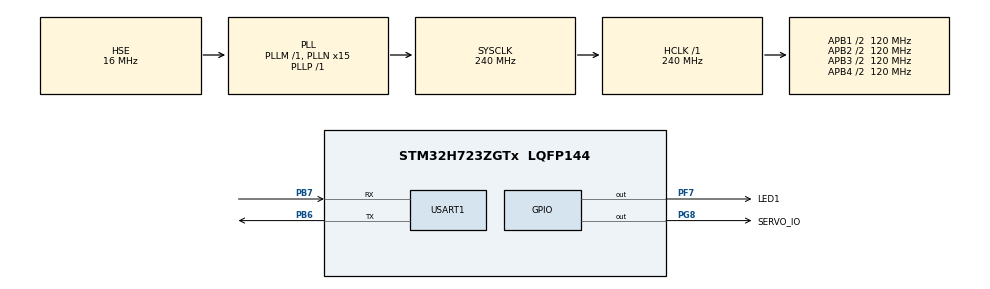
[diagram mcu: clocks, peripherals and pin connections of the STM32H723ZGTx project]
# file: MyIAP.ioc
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CORTEX_M7.default_mode_Activation=1
Dma.Request0=USART1_RX
Dma.Request1=USART1_TX
Dma.USART1_RX.0.Direction=DMA_PERIPH_TO_MEMORY
Dma.USART1_RX.0.EventEnable=DISABLE
Dma.USART1_RX.0.FIFOMode=DMA_FIFOMODE_DISABLE
Dma.USART1_RX.0.Instance=DMA1_Stream0
Dma.USART1_RX.0.MemDataAlignment=DMA_MDATAALIGN_BYTE
Dma.USART1_RX.0.MemInc=DMA_MINC_ENABLE
Dma.USART1_RX.0.Mode=DMA_NORMAL
Dma.USART1_RX.0.PeriphDataAlignment=DMA_PDATAALIGN_BYTE
Dma.USART1_RX.0.PeriphInc=DMA_PINC_DISABLE
Dma.USART1_RX.0.Polarity=HAL_DMAMUX_REQ_GEN_RISING
Dma.USART1_RX.0.Priority=DMA_PRIORITY_MEDIUM
Dma.USART1_RX.0.RequestNumber=1
Dma.USART1_RX.0.SignalID=NONE
Dma.USART1_RX.0.SyncEnable=DISABLE
Dma.USART1_RX.0.SyncPolarity=HAL_DMAMUX_SYNC_NO_EVENT
Dma.USART1_RX.0.SyncRequestNumber=1
Dma.USART1_RX.0.SyncSignalID=NONE
Dma.USART1_TX.1.Direction=DMA_MEMORY_TO_PERIPH
Dma.USART1_TX.1.EventEnable=DISABLE
Dma.USART1_TX.1.FIFOMode=DMA_FIFOMODE_DISABLE
Dma.USART1_TX.1.Instance=DMA1_Stream1
Dma.USART1_TX.1.MemDataAlignment=DMA_MDATAALIGN_BYTE
Dma.USART1_TX.1.MemInc=DMA_MINC_ENABLE
Dma.USART1_TX.1.Mode=DMA_NORMAL
Dma.USART1_TX.1.PeriphDataAlignment=DMA_PDATAALIGN_BYTE
Dma.USART1_TX.1.PeriphInc=DMA_PINC_DISABLE
Dma.USART1_TX.1.Polarity=HAL_DMAMUX_REQ_GEN_RISING
Dma.USART1_TX.1.Priority=DMA_PRIORITY_LOW
Dma.USART1_TX.1.RequestNumber=1
Dma.USART1_TX.1.SignalID=NONE
Dma.USART1_TX.1.SyncEnable=DISABLE
Dma.USART1_TX.1.SyncPolarity=HAL_DMAMUX_SYNC_NO_EVENT
Dma.USART1_TX.1.SyncRequestNumber=1
Dma.USART1_TX.1.SyncSignalID=NONE
IWDG1.Prescaler=IWDG_PRESCALER_32
Mcu.Family=STM32H7
Mcu.Name=STM32H723ZGTx
Mcu.Package=LQFP144
NVIC.DMA1_Stream0_IRQn=true\:0\:0\:false\:false\:true\:false\:true\:true
NVIC.DMA1_Stream1_IRQn=true\:0\:0\:false\:false\:true\:false\:true\:true
NVIC.PriorityGroup=NVIC_PRIORITYGROUP_4
NVIC.USART1_IRQn=true\:0\:0\:false\:false\:true\:true\:true\:true
PB6.Mode=Asynchronous
PB6.Signal=USART1_TX
PB7.Mode=Asynchronous
PB7.Signal=USART1_RX
PF7.GPIO_Label=LED1
PF7.Signal=GPIO_Output
PG8.GPIO_Label=SERVO_IO
PG8.PinState=GPIO_PIN_RESET
PG8.Signal=GPIO_Output
PH0-OSC_IN.Mode=HSE-External-Oscillator
PH0-OSC_IN.Signal=RCC_OSC_IN
PH1-OSC_OUT.Mode=HSE-External-Oscillator
PH1-OSC_OUT.Signal=RCC_OSC_OUT
ProjectManager.HeapSize=0x1000
ProjectManager.StackSize=0x400
ProjectManager.TargetToolchain=STM32CubeIDE
RCC.ADCFreq_Value=96000000
RCC.APB1Freq_Value=120000000
RCC.APB2Freq_Value=120000000
RCC.APB3Freq_Value=120000000
RCC.APB4Freq_Value=120000000
RCC.CortexFreq_Value=240000000
RCC.D1PPRE=RCC_APB3_DIV2
RCC.D2PPRE1=RCC_APB1_DIV2
RCC.D2PPRE2=RCC_APB2_DIV2
RCC.D3PPRE=RCC_APB4_DIV2
RCC.DIVM1=1
RCC.DIVM2=1
RCC.DIVM3=1
RCC.DIVN1=15
RCC.DIVN2=12
RCC.DIVN3=12
RCC.DIVP1=1
RCC.HCLKFreq_Value=240000000
RCC.HSE_VALUE=16000000
RCC.PLLSourceVirtual=RCC_PLLSOURCE_HSE
RCC.SYSCLKFreq_VALUE=240000000
RCC.SYSCLKSource=RCC_SYSCLKSOURCE_PLLCLK
RCC.USBFreq_Value=120000000
USART1.VirtualMode-Asynchronous=VM_ASYNC
VP_IWDG1_VS_IWDG.Mode=IWDG_Activate
VP_MEMORYMAP_VS_MEMORYMAP.Mode=CurAppReg
VP_RTC_VS_RTC_Activate.Mode=RTC_Enabled
board=custom

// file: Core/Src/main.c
/* USER CODE BEGIN Header */
/**
  ******************************************************************************
  * @file           : main.c
  * @brief          : Main program body
  ******************************************************************************
  * @attention
  *
  * Copyright (c) 2026 STMicroelectronics.
  * All rights reserved.
  *
  * This software is licensed under terms that can be found in the LICENSE file
  * in the root directory of this software component.
  * If no LICENSE file comes with this software, it is provided AS-IS.
  *
  ******************************************************************************
  */
/* USER CODE END Header */
#include "main.h"
#include "dma.h"
#include "iwdg.h"
#include "rtc.h"
#include "usart.h"
#include "gpio.h"

/* USER CODE BEGIN Includes */
#include <string.h>
#include <stdio.h>
#include "menu.h"
/* USER CODE END Includes */

/* USER CODE BEGIN PV */

uint8_t boot_in_menu_flag = 0;

extern pFunction Jump_To_Application;
extern uint32_t JumpAddress;

/* USER CODE END PV */

void SystemClock_Config(void);
static void MPU_Config(void);
/* USER CODE BEGIN PFP */
void Jump_To_App(void);
/* USER CODE END PFP */

int main(void)
{

  /* MPU Configuration--------------------------------------------------------*/
  MPU_Config();

  /* MCU Configuration--------------------------------------------------------*/

  /* Reset of all peripherals, Initializes the Flash interface and the Systick. */
  HAL_Init();

  /* Configure the system clock */
  SystemClock_Config();

  /* Initialize all configured peripherals */
  MX_GPIO_Init();
  MX_DMA_Init();
  MX_USART1_UART_Init();
  MX_RTC_Init();
  MX_IWDG1_Init();
  /* USER CODE BEGIN 2 */
  __HAL_DBGMCU_FREEZE_IWDG1(); // 调试时冻结看门狗

	uint8_t enter_iap = 0;
	uint32_t life_count = 0;

	// 1. 软件触发判定：检查 RTC 备份寄存器（由 APP 重启触发）
	// 注意：需要确保前面已经调用了 MX_RTC_Init(); 否则这里可能读不到
	HAL_PWR_EnableBkUpAccess();
	if (HAL_RTCEx_BKUPRead(&hrtc, RTC_BKP_DR0) == 0x5A5A) {
		HAL_RTCEx_BKUPWrite(&hrtc, RTC_BKP_DR0, 0x0000); // 擦除标志
		enter_iap = 1;
	}

	// 新增一个电机的启动，如果在app中调用，可能会死机
//	HAL_GPIO_WritePin(SERVO_IO_GPIO_Port, SERVO_IO_Pin , GPIO_PIN_SET);
//	while(1){ // 喂狗与生命状态测试
//		HAL_IWDG_Refresh(&hiwdg1); // 必须在等待循环中喂狗
//		life_count++;
//		printf("\r\n[BOOT] Test life %ld\r\n", life_count);
//	    HAL_GPIO_TogglePin(LED1_GPIO_Port, LED1_Pin);
//	    HAL_GPIO_TogglePin(LED2_GPIO_Port, LED2_Pin);
//		HAL_Delay(500);
//	}

	HAL_IWDG_Refresh(&hiwdg1); // 喂狗

	// 2. UART 触发判定：PC 串口拦截（替换原来的按键逻辑）
	if (enter_iap == 0) {
		printf("\r\n[BOOT] Press 'U' within 3 seconds to force enter IAP mode...\r\n");

		uint32_t tickstart = HAL_GetTick();
		uint8_t rx_data = 0;

		// 开启 3 秒 (3000ms) 的等待窗口
		while ((HAL_GetTick() - tickstart) < 5000) {

			// 极其重要：等待期间必须持续喂狗，否则单片机会在此处不断复位！
			HAL_IWDG_Refresh(&hiwdg1);

			// 尝试通过轮询方式接收 1 个字节，超时时间设为 10ms，保证循环能快速运转去喂狗
			if (HAL_UART_Receive(&huart1, &rx_data, 1, 10) == HAL_OK) {
				// 如果收到了特定的标识符（例如大写字母 'U'）
				if (rx_data == 'U') {
					printf("\r\n[BOOT] Intercepted! Entering IAP mode...\r\n");
					enter_iap = 1;
					break; // 拦截成功，跳出等待循环
				}
			}
		}
	}

	// 3. 进入 IAP 模式
	if (enter_iap) {
		FLASH_If_Init(); // 解锁 Flash 权限
		Main_Menu();     // 进入 Ymodem 菜单循环
	}
	// 4. 尝试跳转到 APP（由 BootInfo 决定目标 Bank）
	else {
		uint32_t app_addr = BOOT_GetActiveAppAddress();

		if (app_addr != 0)
		{
			// printf("[BOOT] Active app at 0x%08X, jumping...\r\n", app_addr);
			HAL_Delay(50);
			Jump_To_App();
		}
		else {
			printf("[BOOT] No valid APP found in any bank!\r\n");
			printf("[BOOT] BankA SP: 0x%08X, BankB SP: 0x%08X\r\n",
					*(__IO uint32_t*)ADDR_BANKA, *(__IO uint32_t*)ADDR_BANKB);
			HAL_Delay(2000);

			FLASH_If_Init();
			Main_Menu();
		}
	}
  /* USER CODE END 2 */

  /* Infinite loop */
  while (1)
  {

    /* USER CODE BEGIN 3 */
		printf("run in boot while(1)\r\n");
    printf("there is no legal APP\r\n");
    HAL_GPIO_TogglePin(LED1_GPIO_Port, LED1_Pin);
	  HAL_Delay(2000);
  }
  /* USER CODE END 3 */
}

void SystemClock_Config(void)
{
  RCC_OscInitTypeDef RCC_OscInitStruct = {0};
  RCC_ClkInitTypeDef RCC_ClkInitStruct = {0};

  /** Supply configuration update enable
  */
  HAL_PWREx_ConfigSupply(PWR_LDO_SUPPLY);

  /** Configure the main internal regulator output voltage
  */
  __HAL_PWR_VOLTAGESCALING_CONFIG(PWR_REGULATOR_VOLTAGE_SCALE0);

  while(!__HAL_PWR_GET_FLAG(PWR_FLAG_VOSRDY)) {}

  /** Initializes the RCC Oscillators according to the specified parameters
  * in the RCC_OscInitTypeDef structure.
  */
  RCC_OscInitStruct.OscillatorType = RCC_OSCILLATORTYPE_LSI|RCC_OSCILLATORTYPE_HSE;
  RCC_OscInitStruct.HSEState = RCC_HSE_ON;
  RCC_OscInitStruct.LSIState = RCC_LSI_ON;
  RCC_OscInitStruct.PLL.PLLState = RCC_PLL_ON;
  RCC_OscInitStruct.PLL.PLLSource = RCC_PLLSOURCE_HSE;
  RCC_OscInitStruct.PLL.PLLM = 1;
  RCC_OscInitStruct.PLL.PLLN = 15;
  RCC_OscInitStruct.PLL.PLLP = 1;
  RCC_OscInitStruct.PLL.PLLQ = 2;
  RCC_OscInitStruct.PLL.PLLR = 2;
  RCC_OscInitStruct.PLL.PLLRGE = RCC_PLL1VCIRANGE_3;
  RCC_OscInitStruct.PLL.PLLVCOSEL = RCC_PLL1VCOWIDE;
  RCC_OscInitStruct.PLL.PLLFRACN = 0;
  if (HAL_RCC_OscConfig(&RCC_OscInitStruct) != HAL_OK)
  {
    Error_Handler();
  }

  /** Initializes the CPU, AHB and APB buses clocks
  */
  RCC_ClkInitStruct.ClockType = RCC_CLOCKTYPE_HCLK|RCC_CLOCKTYPE_SYSCLK
                              |RCC_CLOCKTYPE_PCLK1|RCC_CLOCKTYPE_PCLK2
                              |RCC_CLOCKTYPE_D3PCLK1|RCC_CLOCKTYPE_D1PCLK1;
  RCC_ClkInitStruct.SYSCLKSource = RCC_SYSCLKSOURCE_PLLCLK;
  RCC_ClkInitStruct.SYSCLKDivider = RCC_SYSCLK_DIV1;
  RCC_ClkInitStruct.AHBCLKDivider = RCC_HCLK_DIV1;
  RCC_ClkInitStruct.APB3CLKDivider = RCC_APB3_DIV2;
  RCC_ClkInitStruct.APB1CLKDivider = RCC_APB1_DIV2;
  RCC_ClkInitStruct.APB2CLKDivider = RCC_APB2_DIV2;
  RCC_ClkInitStruct.APB4CLKDivider = RCC_APB4_DIV2;

  if (HAL_RCC_ClockConfig(&RCC_ClkInitStruct, FLASH_LATENCY_3) != HAL_OK)
  {
    Error_Handler();
  }
}

/* USER CODE BEGIN 4 */

void Jump_To_App(void)
{
    uint32_t app_addr = BOOT_GetActiveAppAddress();
		printf("[BOOT] Active app at 0x%08X, jumping...\r\n", app_addr);

    if (app_addr == 0)
    {
        printf("Error: No active application!\r\n");
        return;
    }

    uint32_t app_stack_ptr = *(__IO uint32_t*)app_addr;
    uint32_t app_reset_vec = *(__IO uint32_t*)(app_addr + 4);

    printf("[BOOT] Jump target: 0x%08X\r\n", app_addr);
    printf("[BOOT] SP: 0x%08X, Reset: 0x%08X\r\n", app_stack_ptr, app_reset_vec);

    if (((app_stack_ptr & 0x2FF00000) == 0x20000000) ||
        ((app_stack_ptr & 0x2FF00000) == 0x24000000))
    {
        // 1. 关闭全局中断
        __disable_irq();

        printf("1 ");

        // 临走前狠狠喂一次狗
        extern IWDG_HandleTypeDef hiwdg1;
        HAL_IWDG_Refresh(&hiwdg1);

        // 如果你的 Bootloader 用到了 ADC DMA，必须在此强制停止！
		// extern ADC_HandleTypeDef hadc1;
		// HAL_ADC_Stop_DMA(&hadc1);

		// 强制停止串口的所有收发和 DMA
		extern UART_HandleTypeDef huart1; // 根据你代码里的名字，可能是 huart1
		HAL_UART_Abort(&huart1);

        printf("2 ");
		// 强制插入同步屏障，确保前面的关闭动作在硬件层面上彻底完成
		// 如果有隐藏的 BusFault，也会在这里提前引爆，而不会死在 Cache 函数里
		__DSB();
		__ISB();

        // 2. 【先】清理并关闭 Cache
        // 此时总线和内存时钟都在正常运行，写回脏数据绝对安全
        SCB_DisableICache();
//        SCB_CleanInvalidateDCache();
//        SCB_DisableDCache();
        SCB_InvalidateDCache();
        SCB->CCR &= ~(uint32_t)SCB_CCR_DC_Msk; // 强制从硬件位关闭 D-Cache

        printf("3 ");
		__DSB();
		__ISB();

        // 3. 【再】关闭 MPU
        HAL_MPU_Disable();

        // 4. 【最后】反初始化外设
        // 现在 Cache 已经关了，怎么关外设时钟都不会触发总线错误了
        // 这个地方注释掉，避免电源波动
//        HAL_DeInit();
        //printf("4\n");
        // ==========================================

        // 5. 禁用 SysTick
        SysTick->CTRL = 0;
        SysTick->LOAD = 0;
        SysTick->VAL  = 0;

        // 6. 清理残留的中断标志
        for (int i = 0; i < 8; i++) {
            NVIC->ICER[i] = 0xFFFFFFFF;
            NVIC->ICPR[i] = 0xFFFFFFFF;
        }
        //printf("5\n");

        // 7. 执行跳转
        uint32_t JumpAddress = *(__IO uint32_t*) (app_addr + 4);
        pFunction JumpToApplication = (pFunction) JumpAddress;

        // 设置主堆栈指针
        __set_MSP(app_stack_ptr);

        // 冲！
        //printf("\r\n[BOOT] All cleared, JUMPING NOW!\r\n");

        JumpToApplication();
    }
    else
    {
        printf("Error: Stack Pointer not valid!\r\n");
    }
}

/* USER CODE END 4 */

 /* MPU Configuration */

void MPU_Config(void)
{
  MPU_Region_InitTypeDef MPU_InitStruct = {0};

  /* Disables the MPU */
  HAL_MPU_Disable();

  /** Initializes and configures the Region and the memory to be protected
  */
  MPU_InitStruct.Enable = MPU_REGION_ENABLE;
  MPU_InitStruct.Number = MPU_REGION_NUMBER0;
  MPU_InitStruct.BaseAddress = 0x0;
  MPU_InitStruct.Size = MPU_REGION_SIZE_4GB;
  MPU_InitStruct.SubRegionDisable = 0x87;
  MPU_InitStruct.TypeExtField = MPU_TEX_LEVEL0;
  MPU_InitStruct.AccessPermission = MPU_REGION_NO_ACCESS;
  MPU_InitStruct.DisableExec = MPU_INSTRUCTION_ACCESS_DISABLE;
  MPU_InitStruct.IsShareable = MPU_ACCESS_SHAREABLE;
  MPU_InitStruct.IsCacheable = MPU_ACCESS_NOT_CACHEABLE;
  MPU_InitStruct.IsBufferable = MPU_ACCESS_NOT_BUFFERABLE;

  HAL_MPU_ConfigRegion(&MPU_InitStruct);
  /* Enables the MPU */
  HAL_MPU_Enable(MPU_PRIVILEGED_DEFAULT);

}

void Error_Handler(void)
{
  /* USER CODE BEGIN Error_Handler_Debug */
	// 打印遗言，这样你就知道是不是时钟配置失败导致的重启了！
	  printf("\r\n[BOOT] Crashed in Error_Handler!\r\n");
  /* User can add his own implementation to report the HAL error return state */
  __disable_irq();
  while (1)
  {
  }
  /* USER CODE END Error_Handler_Debug */
}
